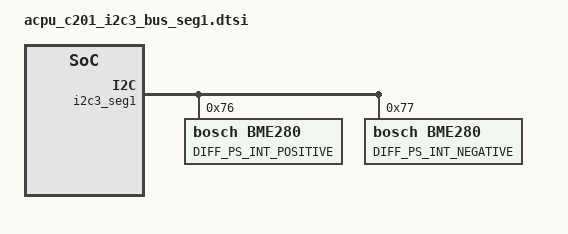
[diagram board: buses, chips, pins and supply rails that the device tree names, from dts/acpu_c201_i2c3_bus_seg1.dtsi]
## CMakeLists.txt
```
# Copyright (c) 2021 Acme CPU

# Add our modules directory to Zephyr Modules
#list(APPEND ZEPHYR_EXTRA_MODULES ${CMAKE_CURRENT_SOURCE_DIR}/modules)

cmake_minimum_required(VERSION 3.13.1)

set(PROJ_ROOT ${CMAKE_CURRENT_SOURCE_DIR}/)
set(DTS_ROOT ${CMAKE_CURRENT_SOURCE_DIR}/dts)

#set(DTC_OVERLAY_FILE "boards/stm32g473_acme_cpu_c201.overlay application/ui_ux/ui_menu.config")

set(BOARD_ROOT ${CMAKE_CURRENT_LIST_DIR})
set(BOARD stm32g473_acme_cpu_c201)

find_package(Zephyr HINTS $ENV{ZEPHYR_BASE})
project(fat_fs)

FILE(GLOB app_sources src/*.c)
target_sources(app PRIVATE ${app_sources})
```

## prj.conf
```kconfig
CONFIG_DISK_ACCESS=y
CONFIG_LOG=y
CONFIG_FILE_SYSTEM=y
CONFIG_FAT_FILESYSTEM_ELM=y
CONFIG_PRINTK=y
CONFIG_MAIN_STACK_SIZE=2048

CONFIG_DISK_DRIVER_SDMMC=y
CONFIG_SPI=y
```

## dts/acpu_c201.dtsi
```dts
/*
 * Copyright (c) 2021 Acme CPU
 *
 * SPDX-License-Identifier: Apache-2.0
 */


/{ c201: acpu-c201-board {

	mcu_gpios: mcu-gpio-signals {
		compatible = "bsp-gpios";

	};

	dio3_gpios: pe-gpio-3 {
		compatible = "bsp-gpios";

	};
   };
 };

#include <gpio_dt_defines.dtsi>


#include <acpu_c201_adc1.dtsi>
#include <acpu_c201_dac1.dtsi>
#include <acpu_c201_exti_ctrl.dtsi>
#include <acpu_c201_dma.dtsi>
#include <acpu_c201_i2c3_bus.dtsi>
#include <acpu_c201_i2c3_bus_seg0.dtsi>
#include <acpu_c201_i2c3_bus_seg1.dtsi>
#include <acpu_c201_i2c3_bus_seg2.dtsi>
#include <acpu_c201_i2c3_bus_seg3.dtsi>
#include <acpu_c201_qspi1_bus.dtsi>
#include <acpu_c201_rtc.dtsi>
#include <acpu_c201_spi2_bus.dtsi>
#include <acpu_c201_spi3_bus.dtsi>
#include <acpu_c201_stepper.dtsi>
#include <acpu_c201_timers2.dtsi>
#include <acpu_c201_timers3.dtsi>
#include <acpu_c201_timers17.dtsi>
#include <acpu_c201_timers20.dtsi>
#include <acpu_c201_usart1.dtsi>
#include <acpu_c201_usart3.dtsi>
#include <acpu_c201_usb.dtsi>

/*
 *	In this section we collect compound-type devices which may rely on several
 *	different nodes in the devicetree
 */

#include <acpu_c201_gpios.dtsi>	
#include <acpu_c201_blower.dtsi>
#include <acpu_c201_user_interface.dtsi>
#include <acpu_c201_boost_converter.dtsi>

/*
 *	Virtual devices which benefit from the devicetree
 */

#include <acpu_c201_menu.dtsi>
```

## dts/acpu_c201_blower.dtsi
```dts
/*
 * Copyright (c) 2021 Acme CPU
 *
 * SPDX-License-Identifier: Apache-2.0
 */


&c201 { 

   sys_fan {
    compatible = "bsp-fan";
    status = "okay";
    pwms =  <&tim_2_pwm 2 65536 PWM_POLARITY_NORMAL>,
            <&tim_2_ic 1 65536 (1 << 3)>;
    pwm-names = "speed-ctrl",
                "speed-feedback";
    label = "SYS FAN";
   };

   /*blower {
	compatible = "acpu,blower";
	label = "BLOWER MOTOR";
	pwms = <&tim_2_pwm 2 65536 PWM_POLARITY_NORMAL>,
		<&tim_2_ic 1 65536 (1 << 3)>;
	pwm-names = "speed-ctrl",
		    "speed-feedback";

	dcdc-converter {
		label = "BOOST CONVERTER";
		enable-gpios = <&io_1 4 GPIO_OUTPUT_INACTIVE>;
		direction-gpios = <&io_1 8 GPIO_OUTPUT_INACTIVE>;
		io-channels = <&dac1 1>,
				<&adc1 6>;
		io-channel-names = "voltage-ctrl",
					"voltage-feedback";
		vref = <3300>;
		vfb = <1229>;
		v-i-conv-shunt = <2700>;
		vdiv-bot-resistor = <10000>;
		vdiv-top-resistor = <44200>;
		vdiv-aux-resistor = <11000>;
	};
   };*/
};
```

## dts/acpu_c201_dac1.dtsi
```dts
/*
 * Copyright (c) 2021 Acme CPU
 *
 * SPDX-License-Identifier: Apache-2.0
 */


&dac1 {
    status = "okay";
    pinctrl-0 = <&dac1_out1_pa4>;
};
```

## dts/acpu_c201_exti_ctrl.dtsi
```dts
/*
 * Copyright (c) 2021 Acme CPU
 *
 * SPDX-License-Identifier: Apache-2.0
 */


&mcu_gpios {

      dio3_int: gpioa-0 {
            gpios = <&gpioa 0 (GPIO_INPUT | GPIO_INT_EDGE_FALLING)>;
            label = "UI INT";
      };

      sensor_int: gpioc-3 {
            gpios = <&gpioc 3 (GPIO_INPUT | GPIO_INT_EDGE_FALLING)>;
            label = "SENSOR INT";
      };

      tamp_det: gpioc-13 {
            gpios = <&gpioc 13 (GPIO_INPUT | GPIO_INT_EDGE_RISING)>;
            label = "TAMP DET";
      };

      periph_reset: gpioa-8 {
            gpios = <&gpioa 8 (GPIO_OUTPUT_ACTIVE)>;
            label = "PERIPH RST";
      };
};
```

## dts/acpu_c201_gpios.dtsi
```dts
/*
 * Copyright (c) 2021 Acme CPU
 *
 * SPDX-License-Identifier: Apache-2.0
 */


/*
 *	This file describes parameters to initialize individual pins of the 
 *	DIO_1, DIO_2 and DIO_3 port expanders with during the system boots up.
 *	It is intended to be used by BSP GPIO Device Driver.
 */


&c201 {

  dio_1: gpio-pe-1 {
    compatible = "bsp-gpios";

    pin_0 {
      gpios = <&io_1 0 (GPIO_OUTPUT_INACTIVE | GPIO_PUSH_PULL | GPIO_INT_DISABLE)>;
      label = "BG95_PS_EN";
    };

    pin_1 {
      gpios = <&io_1 1 (GPIO_INPUT | GPIO_PULL_UP | GPIO_INT_LEVEL_LOW)>;
      label = "MICRO_SD_DETECT";
    };

    pin_2 {
      gpios = <&io_1 2 (GPIO_OUTPUT_INACTIVE | GPIO_PUSH_PULL | GPIO_INT_DISABLE)>;
      label = "BG95_UART_MUX_SEL1";
    };

    pin_3 {
      gpios = <&io_1 3 (GPIO_OUTPUT_INACTIVE | GPIO_PUSH_PULL | GPIO_INT_DISABLE)>;
      label = "BG95_UART_MUX_SEL0";
    };

/*
 *	This has been moved into blower node (acpu_c201_blower.dtsi)
 *
    pin_4 {
      gpios = <&io_1 4 (GPIO_OUTPUT_INACTIVE | GPIO_PUSH_PULL | GPIO_INT_DISABLE)>;
      label = "FAN_PS_EN";
    };
 *
 */

    pin_5 {
      gpios = <&io_1 5 (GPIO_INPUT | GPIO_PULL_UP | GPIO_INT_LEVEL_LOW)>;
      label = "TILT_SENS_INT";
    };

    pin_6 {
      gpios = <&io_1 6 (GPIO_INPUT | GPIO_PULL_UP | GPIO_INT_LEVEL_LOW)>;
      label = "DIO_2_INT";
    };

    pin_7 {
      gpios = <&io_1 7 (GPIO_OUTPUT_INACTIVE | GPIO_PUSH_PULL | GPIO_INT_DISABLE)>;
      label = "BQ25611_BC_EN";
    };

    pin_8 {
      gpios = <&io_1 8 (GPIO_OUTPUT_INACTIVE | GPIO_PUSH_PULL | GPIO_INT_DISABLE)>;
      label = "BLDC_DIR";
    };

    pin_9 {
      gpios = <&io_1 9 (GPIO_OUTPUT_INACTIVE | GPIO_PUSH_PULL | GPIO_INT_DISABLE)>;
      label = "VBAT_SENSE_EN";
    };

    pin_10 {
      gpios = <&io_1 10 (GPIO_OUTPUT_INACTIVE | GPIO_PUSH_PULL | GPIO_INT_DISABLE)>;
      label = "STEP_MTR_STBY";
    };

    pin_11 {
      gpios = <&io_1 11 (GPIO_OUTPUT_INACTIVE | GPIO_PUSH_PULL | GPIO_INT_DISABLE)>;
      label = "STEP_MTR_DRV_EN";
    };

    pin_12 {
      gpios = <&io_1 12 (GPIO_OUTPUT_INACTIVE | GPIO_PUSH_PULL | GPIO_INT_DISABLE)>;
      label = "STEP_MTR_DRV_MOD2";
    };

    pin_13 {
      gpios = <&io_1 13 (GPIO_OUTPUT_INACTIVE | GPIO_PUSH_PULL | GPIO_INT_DISABLE)>;
      label = "STEP_MTR_DRV_MOD1";
    };

    pin_14 {
      gpios = <&io_1 14 (GPIO_INPUT | GPIO_PULL_UP | GPIO_INT_LEVEL_LOW)>;
      label = "STEP_MTR_FAULT";
    };

    pin_15 {
      gpios = <&io_1 15 (GPIO_OUTPUT_INACTIVE | GPIO_PUSH_PULL | GPIO_INT_DISABLE)>;
      label = "STEP_MTR_DIR";
    };

  };


  dio_2: gpio-pe-2 {
    compatible = "bsp-gpios";

    pin_0 {
      gpios = <&io_2 0 (GPIO_OUTPUT_INACTIVE | GPIO_PUSH_PULL | GPIO_INT_DISABLE)>;
      label = "BG95_AP_READY";
    };

    pin_1 {
      gpios = <&io_2 1 (GPIO_INPUT | GPIO_PULL_UP | GPIO_INT_LEVEL_LOW)>;
      label = "BG95_STATUS";
    };

    pin_2 {
      gpios = <&io_2 2 (GPIO_INPUT | GPIO_PULL_UP | GPIO_INT_LEVEL_LOW)>;
      label = "BG95_NET_STATUS";
    };

    pin_3 {
      gpios = <&io_2 3 (GPIO_OUTPUT_INACTIVE | GPIO_PUSH_PULL | GPIO_INT_DISABLE)>;
      label = "BG95_W_DISABLE";
    };

    pin_4 {
      gpios = <&io_2 4 (GPIO_OUTPUT_INACTIVE | GPIO_PUSH_PULL | GPIO_INT_DISABLE)>;
      label = "BG95_M_UART.DTR";
    };

    pin_5 {
      gpios = <&io_2 5 (GPIO_INPUT | GPIO_PULL_UP | GPIO_INT_LEVEL_LOW)>;
      label = "BG95_M_UART.RI";
    };

    pin_6 {
      gpios = <&io_2 6 (GPIO_INPUT | GPIO_PULL_UP | GPIO_INT_LEVEL_LOW)>;
      label = "BG95_M_UART.DCD";
    };

    pin_7 {
      gpios = <&io_2 7 (GPIO_INPUT | GPIO_PULL_UP | GPIO_INT_LEVEL_LOW)>;
      label = "BG95_PSM_IND";
    };

    pin_8 {
      gpios = <&io_2 8 (GPIO_OUTPUT_INACTIVE | GPIO_PUSH_PULL | GPIO_INT_DISABLE)>;
      label = "BG95_RESET";
    };

    pin_9 {
      gpios = <&io_2 9 (GPIO_OUTPUT_INACTIVE | GPIO_PUSH_PULL | GPIO_INT_DISABLE)>;
      label = "BG95_PWR_KEY";
    };

    pin_10 {
      gpios = <&io_2 10 (GPIO_OUTPUT_INACTIVE | GPIO_PUSH_PULL | GPIO_INT_DISABLE)>;
      label = "BG95_PON_TRIG";
    };

    pin_11 {
      gpios = <&io_2 11 (GPIO_OUTPUT_INACTIVE | GPIO_PUSH_PULL | GPIO_INT_DISABLE)>;
      label = "BG95_USB_BOOT";
    };

    pin_12 {
      gpios = <&io_2 12 (GPIO_OUTPUT_INACTIVE | GPIO_PUSH_PULL | GPIO_INT_DISABLE)>;
      label = "1V8_PS_EN";
    };

    pin_13 {
      gpios = <&io_2 13 (GPIO_INPUT | GPIO_PULL_DOWN | GPIO_INT_DISABLE)>;
      label = "DIO2_FREE_PIN_13";
    };

    pin_14 {
      gpios = <&io_2 14 (GPIO_INPUT | GPIO_PULL_DOWN | GPIO_INT_DISABLE)>;
      label = "DIO2_FREE_PIN_14";
    };

    pin_15 {
      gpios = <&io_2 15 (GPIO_OUTPUT_INACTIVE | GPIO_PUSH_PULL | GPIO_INT_DISABLE)>;
      label = "3V3_AUX_PS_EN";
    };

  };

  dio_3: gpio-pe-3 {
    compatible = "bsp-gpios";

    pin_0 {
      gpios = <&io_3 0 (GPIO_INPUT | GPIO_PULL_UP | GPIO_INT_LEVEL_HIGH)>;
      label = "TCPC_USB_SW_OPN";
    };

    pin_1 {
      gpios = <&io_3 1 (GPIO_INPUT | GPIO_PULL_UP | GPIO_INT_LEVEL_LOW)>;
      label = "TCPC_TCPP_FAULT";
    };

    pin_2 {
      gpios = <&io_3 2 (GPIO_INPUT | GPIO_PULL_UP | GPIO_INT_LEVEL_LOW)>;
      label = "TCPC_BC_CHG_ALLOWED";
    };

    pin_3 {
      gpios = <&io_3 3 (GPIO_OUTPUT_INACTIVE | GPIO_PUSH_PULL | GPIO_INT_DISABLE)>;
      label = "TCPC_USB_MUX_SEL1";
    };

    pin_4 {
      gpios = <&io_3 4 (GPIO_OUTPUT_INACTIVE | GPIO_PUSH_PULL | GPIO_INT_DISABLE)>;
      label = "TCPC_USB_MUX_SEL0";
    };

    pin_5 {
      gpios = <&io_3 5 (GPIO_INPUT | GPIO_PULL_UP | GPIO_INT_LEVEL_LOW)>;
      label = "BC_INT";
    };

    pin_6 {
      gpios = <&io_3 6 (GPIO_INPUT | GPIO_PULL_UP | GPIO_INT_LEVEL_LOW)>;
      label = "TCPC_BC_CHG_DET";
    };

    pin_7 {
      gpios = <&io_3 7 (GPIO_OUTPUT_INACTIVE | GPIO_PUSH_PULL | GPIO_INT_DISABLE)>;
      label = "TCPC_SBU_SW_EN";
    };

/*
 *  Remaining pins of the DIO_3 port expander are dedicated for the user keypad switches.
 *  Description of those pins is presented in acme_cpu_c201_user_interface.dtsi file
 */

  };

};
```

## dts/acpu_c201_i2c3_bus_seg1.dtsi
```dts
/*
 * Copyright (c) 2021 Acme CPU
 *
 * SPDX-License-Identifier: Apache-2.0
 */

&i2c3_seg1 {

  p121_ps: bmp388@76 {
/*    compatible = "bosch,bmp388";*/
    compatible = "bosch,bme280";
    reg = <0x76>;
    label = "DIFF_PS_INT_POSITIVE";
  };

  p122_ps: bmp388@77 {
/*    compatible = "bosch,bmp388";*/
    compatible = "bosch,bme280";
    reg = <0x77>;
    label = "DIFF_PS_INT_NEGATIVE";
  };

};
```

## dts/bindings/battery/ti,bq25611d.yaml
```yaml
# Copyright (c) 2020, Volodymyr Sirous
# SPDX-License-Identifier: Apache-2.0

description: BQ25611D I2C Controlled 1-cell Buck Battery Charger

include: i2c-device.yaml

compatible: "ti,bq25611d"

properties:

  interrupt-gpios:
    required: true
    type: phandle-array

  enable-gpios:
    required: true
    type: phandle-array

  pwms:
    required: false
    type: phandle-array

  pwm-names:
    required: false
    type: string-array
```

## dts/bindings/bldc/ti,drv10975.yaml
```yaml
# Copyright (c) 2020, Volodymyr Sirous
# SPDX-License-Identifier: Apache-2.0

description: DRV10975 Three Phase Sensorless BLDC Motor Driver

include: i2c-device.yaml

compatible: "ti,drv10975"

properties:

  direction-gpios:
    required: true
    type: phandle-array

  pwm-names:
    type: string-array
    required: true

  pwms:
    type: phandle-array
    required: true
```

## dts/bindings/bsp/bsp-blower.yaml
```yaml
# Copyright (c) 2021, Volodymyr Sirous
# SPDX-License-Identifier: Apache-2.0

description: General representation of a Blower Motor Driver

include: "base.yaml"

compatible: "acpu,blower"

properties:
  label:
    required: true
    type: string
    description: Human readable string describing the device (used as device_get_binding() argument)
  pwms:
    type: phandle-array
    required: false
    description: PWM control signal for a DC Blower Motor or DRV10975 BLDC driver chip
  pwm-names:
    type: string-array
    required: false
    description: PWM control signal for a DC Blower Motor or DRV10975 BLDC driver chip

child-binding:

  description: Adjustable DC-DC SEPIC Converter

  properties:
    label:
      required: true
      type: string
      description: Human readable string describing the device (used as device_get_binding() argument)
    enable-gpios:
      type: phandle-array
      required: false
      description: Enable signal for the DC-DC Converter
    direction-gpios:
      type: phandle-array
      required: false
      description: Direction signal for the DRV10975 BLDC Motor Driver
    io-channels:
      type: phandle-array
      required: false
      description: Analog control signal for the adjustable DC-DC converter
    io-channel-names:
      type: string-array
      required: false
      description: Analog control signal name for the adjustable DC-DC converter
    vref:
      type: int
      required: true
      description: Reference voltage in millivolts for the DAC
    vfb:
      type: int
      required: true
      description: Voltage in millivolts on the FB pin in regulation
    v-i-conv-shunt:
      type: int
      required: true
      description: Resistance of the current sense resistor of the V-to-I converter
    vdiv-bot-resistor:
      type: int
      required: true
      description: Resistance of the bottom resistor in the voltage divider in the feedback loop
    vdiv-top-resistor:
      type: int
      required: true
      description: Resistance of the top resistor in the voltage divider in the feedback loop
    vdiv-aux-resistor:
      type: int
      required: true
      description: Resistance of the auxiliary resistor in the voltage divider in the feedback loop
```

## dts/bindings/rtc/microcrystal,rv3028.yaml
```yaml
# Copyright (c) 2020, Volodymyr Sirous
# SPDX-License-Identifier: Apache-2.0

description: |
    Micro Crystal Extreme Low Power RTC Module
    https://www.microcrystal.com/fileadmin/Media/Products/RTC/Datasheet/RV-3028-C7.pdf

compatible: "microcrystal,rv3028"

include: i2c-device.yaml

properties:
    int-gpios:
      type: phandle-array
      required: false
```

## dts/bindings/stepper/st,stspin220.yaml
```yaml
# Copyright (c) 2021 Acme CPU
# SPDX-License-Identifier: Apache-2.0

description: STSPIN220 stepper motor driver

include: "base.yaml"

compatible: "st,stspin220"

properties:

    label:
        required: true
        type: string
    
    pwms:
        type: phandle-array
        required: true
        description: Step clock input, reference voltage pwm
    
    pwm-names:
        type: string-array
        required: true
        description: Step clock input, reference voltage pwm name

    step-mode1-gpios:
        type: phandle-array
        required: true
        description: Step mode selection input 1
        
    step-mode2-gpios:
        type: phandle-array
        required: true
        description: Step mode selection input 2
              
    direction-gpios:
        type: phandle-array
        required: true
        description: Direction input

    enable-gpios:
        type: phandle-array
        required: true
        description: This is the power stage enable (when low, the power stage is turned off)
            
    standby-gpios:
        type: phandle-array
        required: true
        description: When forced low, the device is forced into low consumption mode
    
    fault-gpios:
        type: phandle-array
        required: true
        description: This is forced low through the integrated open-drain MOSFET when a failure occurs.
   
```

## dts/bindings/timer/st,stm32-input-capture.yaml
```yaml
description: STM32 PWM

compatible: "st,stm32-tim-ic"

include: [pwm-controller.yaml, base.yaml]

properties:
    label:
      required: true

    st,prescaler:
      type: int
      required: true
      description: Clock prescaler at the input of the timer

    pinctrl-0:
      type: phandles
      required: false
      description: |
        GPIO pin configuration for PWM signal/s. We expect that the phandles
        will reference pinctrl nodes, e.g.

           pinctrl-0 = <&tim1_ch1_pwm_pa8 &tim1_ch2_pwm_pa9>;

    "#pwm-cells":
      const: 3

pwm-cells:
  - channel
# period in terms of nanoseconds
  - period
  - flags
```

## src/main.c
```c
/*
 * Copyright (c) 2019 Tavish Naruka <tavishnaruka@gmail.com>
 *
 * SPDX-License-Identifier: Apache-2.0
 */

/* Sample which uses the filesystem API and SDHC driver */

#include <zephyr.h>
#include <device.h>
#include <storage/disk_access.h>
#include <logging/log.h>
#include <fs/fs.h>
#include <ff.h>

LOG_MODULE_REGISTER(main);

static int lsdir(const char *path);
size_t bsp_fs_create_append_file(const char* file_name, const void *data, size_t len);

static FATFS fat_fs;
/* mounting info */
static struct fs_mount_t mp = {
	.type = FS_FATFS,
	.fs_data = &fat_fs,
};

/*
*  Note the fatfs library is able to mount only strings inside _VOLUME_STRS
*  in ffconf.h
*/
static const char *disk_mount_pt = "/SD:";

void main(void)
{
	/* raw disk i/o */
	do {
		static const char *disk_pdrv = "SD";
		uint64_t memory_size_mb;
		uint32_t block_count;
		uint32_t block_size;

		if (disk_access_init(disk_pdrv) != 0) {
			LOG_ERR("Storage init ERROR!");
			break;
		}

		if (disk_access_ioctl(disk_pdrv,
				DISK_IOCTL_GET_SECTOR_COUNT, &block_count)) {
			LOG_ERR("Unable to get sector count");
			break;
		}
		LOG_INF("Block count %u", block_count);

		if (disk_access_ioctl(disk_pdrv,
				DISK_IOCTL_GET_SECTOR_SIZE, &block_size)) {
			LOG_ERR("Unable to get sector size");
			break;
		}
		printk("Sector size %u\n", block_size);

		memory_size_mb = (uint64_t)block_count * block_size;
		printk("Memory Size(MB) %u\n", (uint32_t)(memory_size_mb >> 20));
	} while (0);

	mp.mnt_point = disk_mount_pt;

	int res = fs_mount(&mp);

	if (res == FR_OK) {
		printk("Disk mounted.\n");
		lsdir(disk_mount_pt);
	} else {
		printk("Error mounting disk.\n");
	}

	char * str = "hello, hello, hello ...";
	while (1) {
		bsp_fs_create_append_file("/SD:/test.log", str, strlen(str));
		k_sleep(K_MSEC(1000));
	}
}

static int lsdir(const char *path)
{
	int res;
	struct fs_dir_t dirp;
	static struct fs_dirent entry;

	fs_dir_t_init(&dirp);

	/* Verify fs_opendir() */
	res = fs_opendir(&dirp, path);
	if (res) {
		printk("Error opening dir %s [%d]\n", path, res);
		return res;
	}

	printk("\nListing dir %s ...\n", path);
	for (;;) {
		/* Verify fs_readdir() */
		res = fs_readdir(&dirp, &entry);

		/* entry.name[0] == 0 means end-of-dir */
		if (res || entry.name[0] == 0) {
			break;
		}

		if (entry.type == FS_DIR_ENTRY_DIR) {
			printk("[DIR ] %s\n", entry.name);
		} else {
			printk("[FILE] %s (size = %zu)\n",
				entry.name, entry.size);
		}
	}

	/* Verify fs_closedir() */
	fs_closedir(&dirp);

	return res;
}

size_t bsp_fs_create_append_file(const char* file_name, const void *data, size_t len) {
	printk("bsp_fs_create_append_file: file_name=%s, length=%d\n", file_name, len);

	int res=0;
	size_t wrbytes=0;

/*
	if (!bsp_fs_sd_card_is_mounted()) {
		res = -ENXIO;
		goto err;
	}
*/

	struct fs_file_t zfp;
	fs_file_t_init(&zfp);
//	memset(&zfp, 0x00, sizeof(struct fs_file_t));

	/* Open the file */
	res = fs_open(&zfp, file_name, (FS_O_CREATE | FS_O_READ | FS_O_WRITE | FS_O_APPEND));
	if (res == 0) {
		printk("file created");
	} else {
		wrbytes = res;
		goto err;
	}

	/* Do write operations here */
	size_t datalen = len;
	wrbytes = fs_write(&zfp, data, datalen);
	if (wrbytes == datalen) {
		printk("%d bytes written to file", wrbytes);
	} else if (wrbytes > 0 && wrbytes < datalen) {
		printk("less bytes written, %d bytes", wrbytes);
	} else if (wrbytes == -ENOTSUP) {
		printk("not implemented by underlying file system driver");
		res = -ENOTSUP;
	} else if (wrbytes < 0) {
		printk("could not write to file");
		res = -1;
	}

	if (res < 0) {
		wrbytes = res;
		goto err;
	}

	/* Close the file */
	res = fs_close(&zfp);
	if (res == 0) {
		printk("file closed");
	} else {
		printk("could not close file");
	}

err:
	return wrbytes;
}
```
